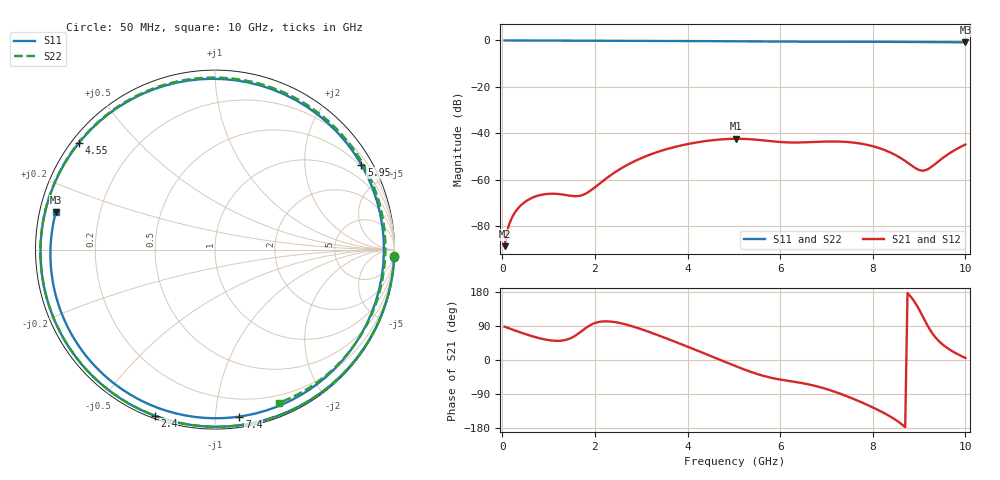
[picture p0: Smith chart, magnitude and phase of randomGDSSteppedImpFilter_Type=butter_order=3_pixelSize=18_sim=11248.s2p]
! freq	dB(S11)	phase(S11)	dB(S12)	phase(S12)
!  dB(S21)	phase(S21)	dB(S22)	phase(S22)
!S-par simulation data
#  GHz  S  DB  R 50
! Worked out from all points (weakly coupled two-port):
!   200 points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, 50 MHz to 10 GHz, reference 50 ohm
!   highest |S21| = -42.29 dB at 5.05 GHz (marker M1); lowest = -88.5 dB at 50 MHz (marker M2)
!   lowest |S11| = -0.8 dB at 10 GHz (marker M3), VSWR 21.48, Z = 2.36 + j5.82 ohm
!   |S11| at or under -10 dB: nowhere
!   |S22| runs from -0.7 to 0.0 dB; largest |S21 - S12| = 0
!   S11 on the Smith chart (normalised r, x): 50 MHz: 0, -47; 2.4 GHz: 0.01, -0.70; 4.55 GHz: 0.02, +0.35; 5.95 GHz: 0.43, +3.68; 7.4 GHz: 0.07, -1.15; 10 GHz: 0.05, +0.12
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0.05  -0.00 -2.4  -88.46 87.9  -88.46 87.9  -0.00 -2.1
0.15  -0.01 -7.2  -78.98 83.3  -78.98 83.3  -0.01 -6.4
0.4  -0.03 -19.0  -70.92 72.4  -70.92 72.4  -0.02 -16.9
0.7  -0.04 -33.2  -67.20 60.8  -67.20 60.8  -0.04 -29.5
1.25  -0.07 -58.6  -66.12 50.7  -66.12 50.7  -0.07 -52.3
1.75  -0.10 -81.2  -66.34 79.6  -66.34 79.6  -0.09 -72.6
2.4  -0.14 -110.0  -57.13 100.6  -57.13 100.6  -0.12 -98.5
2.9  -0.17 -132.3  -51.51 85.4  -51.51 85.4  -0.15 -118.2
3.4  -0.20 -155.5  -47.64 63.7  -47.64 63.7  -0.18 -137.9
4  -0.26 174.2  -44.56 35.2  -44.56 35.2  -0.21 -162.0
4.55  -0.32 141.8  -42.87 8.1  -42.87 8.1  -0.25 175.2
5.05  -0.40 106.9  -42.29 -16.7  -42.29 -16.7  -0.28 153.6
5.5  -0.46 70.1  -42.70 -36.9  -42.70 -36.9  -0.32 133.3
5.95  -0.51 30.1  -43.59 -50.5  -43.59 -50.5  -0.34 112.1
6.3  -0.52 -1.1  -43.89 -57.4  -43.89 -57.4  -0.36 95.2
6.7  -0.53 -34.0  -43.67 -66.7  -43.67 -66.7  -0.38 75.4
7.05  -0.53 -59.5  -43.44 -78.6  -43.44 -78.6  -0.40 58.1
7.4  -0.54 -81.7  -43.60 -93.7  -43.60 -93.7  -0.41 41.0
7.85  -0.56 -106.4  -44.77 -116.7  -44.77 -116.7  -0.43 19.5
8.35  -0.60 -129.8  -47.91 -147.2  -47.91 -147.2  -0.46 -3.1
9.1  -0.68 -160.3  -55.97 109.9  -55.97 109.9  -0.53 -34.3
10  -0.81 166.7  -44.74 5.3  -44.74 5.3  -0.68 -67.3
